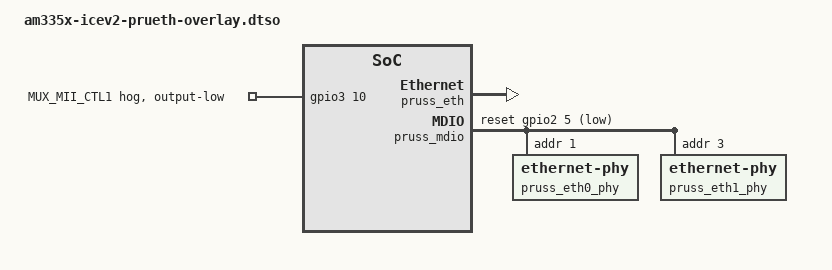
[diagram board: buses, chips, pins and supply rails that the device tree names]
// SPDX-License-Identifier: GPL-2.0
/*
 * DT overlay for IDK AM335x
 *
 * Copyright (C) 2018 Texas Instruments Incorporated - http://www.ti.com/
 */

/*
 * AM335x ICE V2 board
 * http://www.ti.com/tool/tmdsice3359
 */

/dts-v1/;
/plugin/;

#include <dt-bindings/bus/ti-sysc.h>
#include <dt-bindings/gpio/gpio.h>
#include <dt-bindings/pinctrl/am33xx.h>
#include <dt-bindings/clock/am3.h>

&{/} {
	/* Dual-MAC Ethernet application node on PRU-ICSS */
	pruss_eth: pruss-eth {
		compatible = "ti,am3359-prueth";
		ti,prus = <&pru0>, <&pru1>;
		sram = <&ocmcram>;
		ti,mii-rt = <&pruss_mii_rt>;
		ti,iep = <&pruss_iep>;
		ti,ecap = <&pruss_ecap>;
		interrupts = <20 2 2>, <21 3 3>;
		interrupt-names = "rx_hp", "rx_lp";
		interrupt-parent = <&pruss_intc>;

		pinctrl-0 = <&pruss_eth_default>;
		pinctrl-names = "default";

		ethernet-ports {
			#address-cells = <1>;
			#size-cells = <0>;
			pruss_emac0: ethernet-port@0 {
				reg = <0>;
				phy-handle = <&pruss_eth0_phy>;
				phy-mode = "mii";
				interrupts = <20 2 2>, <26 6 6>, <23 6 6>;
				interrupt-names = "rx", "emac_ptp_tx",
						  "hsr_ptp_tx";
				/* Filled in by bootloader */
				local-mac-address = [00 00 00 00 00 00];
			};

			pruss_emac1: ethernet-port@1 {
				reg = <1>;
				phy-handle = <&pruss_eth1_phy>;
				phy-mode = "mii";
				interrupts = <21 3 3>, <27 9 7>, <24 9 7>;
				interrupt-names = "rx", "emac_ptp_tx",
						  "hsr_ptp_tx";
				/* Filled in by bootloader */
				local-mac-address = [00 00 00 00 00 00];
			};
		};
	};
};

&am33xx_pinmux {
	/* MDIO node for PRU-ICSS */
	pruss_mdio_default: pruss-mdio-default-pins {
		pinctrl-single,pins = <
			AM33XX_IOPAD(0x88c, PIN_OUTPUT | MUX_MODE5) /* (V12) gpmc_clk.pr1_mdio_mdclk */
			AM33XX_IOPAD(0x888, PIN_INPUT | MUX_MODE5) /* (T13) gpmc_csn3.pr1_mdio_data */
		>;
	};

	/* Pinmux configuration for PRU-ICSS */
	pruss_eth_default: pruss-eth-default-pins {
		pinctrl-single,pins = <
			AM33XX_IOPAD(0x8a0, PIN_INPUT | MUX_MODE2) /* (R1) lcd_data0.pr1_mii_mt0_clk */
			AM33XX_IOPAD(0x8b4, PIN_OUTPUT | MUX_MODE2) /* (T2) lcd_data5.pr1_mii0_txd0 */
			AM33XX_IOPAD(0x8b0, PIN_OUTPUT | MUX_MODE2) /* (T1) lcd_data4.pr1_mii0_txd1 */
			AM33XX_IOPAD(0x8ac, PIN_OUTPUT | MUX_MODE2) /* (R4) lcd_data3.pr1_mii0_txd2 */
			AM33XX_IOPAD(0x8a8, PIN_OUTPUT | MUX_MODE2) /* (R3) lcd_data2.pr1_mii0_txd3 */
			AM33XX_IOPAD(0x8cc, PIN_INPUT | MUX_MODE5) /* (U4) lcd_data11.pr1_mii0_rxd0 */
			AM33XX_IOPAD(0x8c8, PIN_INPUT | MUX_MODE5) /* (U3) lcd_data10.pr1_mii0_rxd1 */
			AM33XX_IOPAD(0x8c4, PIN_INPUT | MUX_MODE5) /* (U2) lcd_data9.pr1_mii0_rxd2 */
			AM33XX_IOPAD(0x8c0, PIN_INPUT | MUX_MODE5) /* (U1) lcd_data8.pr1_mii0_rxd3 */
			AM33XX_IOPAD(0x8a4, PIN_OUTPUT | MUX_MODE2) /* (R2) lcd_data1.pr1_mii0_txen */
			AM33XX_IOPAD(0x8d8, PIN_INPUT | MUX_MODE5) /* (V4) lcd_data14.pr1_mii_mr0_clk */
			AM33XX_IOPAD(0x8dc, PIN_INPUT | MUX_MODE5) /* (T5) lcd_data15.pr1_mii0_rxdv */
			AM33XX_IOPAD(0x8d4, PIN_INPUT | MUX_MODE5) /* (V3) lcd_data13.pr1_mii0_rxer */
			AM33XX_IOPAD(0x8d0, PIN_INPUT | MUX_MODE5) /* (V2) lcd_data12.pr1_mii0_rxlink */
			AM33XX_IOPAD(0x8e8, PIN_INPUT | MUX_MODE2) /* (V5) lcd_pclk.pr1_mii0_crs */

			AM33XX_IOPAD(0x840, PIN_INPUT | MUX_MODE5) /* (R13) gpmc_a0.pr1_mii_mt1_clk */
			AM33XX_IOPAD(0x850, PIN_OUTPUT | MUX_MODE5) /* (R14) gpmc_a4.pr1_mii1_txd0 */
			AM33XX_IOPAD(0x84c, PIN_OUTPUT | MUX_MODE5) /* (T14) gpmc_a3.pr1_mii1_txd1 */
			AM33XX_IOPAD(0x848, PIN_OUTPUT | MUX_MODE5) /* (U14) gpmc_a2.pr1_mii1_txd2 */
			AM33XX_IOPAD(0x844, PIN_OUTPUT | MUX_MODE5) /* (V14) gpmc_a1.pr1_mii1_txd3 */
			AM33XX_IOPAD(0x860, PIN_INPUT | MUX_MODE5) /* (V16) gpmc_a8.pr1_mii1_rxd0 */
			AM33XX_IOPAD(0x85c, PIN_INPUT | MUX_MODE5) /* (T15) gpmc_a7.pr1_mii1_rxd1 */
			AM33XX_IOPAD(0x858, PIN_INPUT | MUX_MODE5) /* (U15) gpmc_a6.pr1_mii1_rxd2 */
			AM33XX_IOPAD(0x854, PIN_INPUT | MUX_MODE5) /* (V15) gpmc_a5.pr1_mii1_rxd3 */
			AM33XX_IOPAD(0x874, PIN_OUTPUT | MUX_MODE5) /* (U17) gpmc_wpn.pr1_mii1_txen */
			AM33XX_IOPAD(0x864, PIN_INPUT | MUX_MODE5) /* (U16) gpmc_a9.pr1_mii_mr1_clk */
			AM33XX_IOPAD(0x868, PIN_INPUT | MUX_MODE5) /* (T16) gpmc_a10.pr1_mii1_rxdv */
			AM33XX_IOPAD(0x86c, PIN_INPUT | MUX_MODE5) /* (V17) gpmc_a11.pr1_mii1_rxer */
			AM33XX_IOPAD(0x878, PIN_INPUT | MUX_MODE5) /* (U18) gpmc_be1n.pr1_mii1_rxlink */
			AM33XX_IOPAD(0x8ec, PIN_INPUT | MUX_MODE2) /* (R6) lcd_ac_bias_en.pr1_mii1_crs */
		>;
	};
};

&gpio3 {
	mux-mii-hog {
		status = "disabled";
	};

	mux-mii-hog-0 {
		gpio-hog;
		gpios = <10 GPIO_ACTIVE_HIGH>;
		/* ETH1 mux: Low for MII-PRU, high for RMII-CPSW */
		output-low;
		line-name = "MUX_MII_CTL1";
	};
};

/*
 * Disable CPSW switch node and
 * MDIO configuration to prevent
 * conflict with PRU-ICSS
 */
&mac_sw {
	status = "disabled";
};

&davinci_mdio_sw {
	status = "disabled";
};

/* PRU-ICSS MDIO configuration */
&pruss_mdio {
	pinctrl-0 = <&pruss_mdio_default>;
	pinctrl-names = "default";
	reset-gpios = <&gpio2 5 GPIO_ACTIVE_LOW>;
	reset-delay-us = <2>; /* PHY datasheet states 1uS min */
	status = "okay";
	#address-cells = <1>;
	#size-cells = <0>;

	pruss_eth0_phy: ethernet-phy@1 {
		reg = <1>;
	};

	pruss_eth1_phy: ethernet-phy@3 {
		reg = <3>;
	};
};
